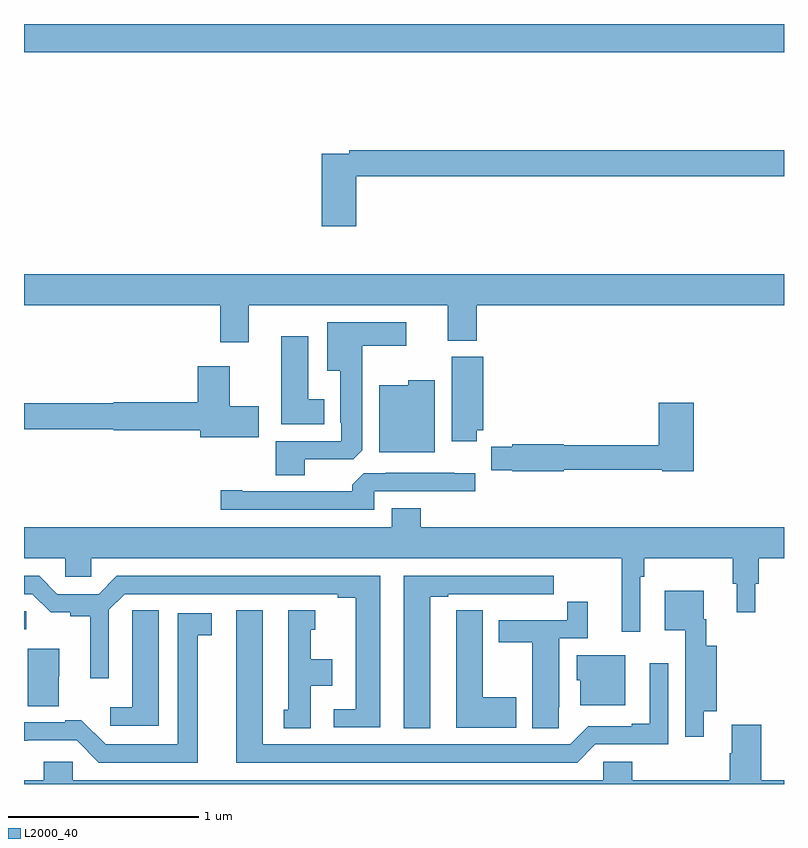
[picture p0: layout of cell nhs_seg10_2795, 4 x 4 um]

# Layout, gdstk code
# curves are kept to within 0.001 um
import gdstk
lib = gdstk.Library(unit=1e-6, precision=1e-09)
def R(c, l, rs):  # rectangles x0, y0, x1, y1
    for r in rs: c.add(gdstk.rectangle(r[:2], r[2:], *l))
def P(c, l, *ps):  # polygons
    for p in ps: c.add(gdstk.Polygon(p, *l))
L2000_40 = (2000, 40)

nhs_seg10_2795 = lib.new_cell('nhs_seg10_2795')
R(nhs_seg10_2795, L2000_40, [(263,1261.314,263.011,1261.41), (263,1264.352,267,1264.5)])
P(nhs_seg10_2795, L2000_40, [(264.749,1263.7),(267,1263.7),(267,1263.836),(264.712,1263.836),(264.712,1263.816),(264.566,1263.816),(264.566,1263.435),(264.749,1263.435)],
  [(264.184,1263.02),(265.229,1263.02),(265.229,1262.833),(265.382,1262.833),(265.382,1263.02),(267,1263.02),(267,1263.184),(263,1263.184),(263,1263.02),(264.032,1263.02),(264.032,1262.826),(264.184,1262.826)],
  [(264.478,1262.208),(264.732,1262.208),(264.781,1262.257),(264.781,1262.807),(265.012,1262.807),(265.012,1262.929),(264.596,1262.929),(264.596,1262.675),(264.665,1262.675),(264.665,1262.401),(264.669,1262.401),(264.669,1262.304),(264.326,1262.304),(264.326,1262.125),(264.478,1262.125)],
  [(264.58,1262.524),(264.496,1262.524),(264.496,1262.857),(264.353,1262.857),(264.353,1262.393),(264.58,1262.393)],
  [(265.384,1262.361),(265.418,1262.361),(265.418,1262.748),(265.25,1262.748),(265.25,1262.305),(265.384,1262.305)],
  [(264.235,1262.487),(264.082,1262.487),(264.082,1262.698),(263.915,1262.698),(263.915,1262.51),(263.472,1262.51),(263.472,1262.504),(263,1262.504),(263,1262.368),(263.472,1262.368),(263.472,1262.363),(263.927,1262.363),(263.927,1262.324),(264.235,1262.324)],
  [(265.162,1262.626),(265.023,1262.626),(265.023,1262.599),(264.869,1262.599),(264.869,1262.246),(265.162,1262.246)],
  [(265.842,1262.154),(266.358,1262.154),(266.358,1262.146),(266.525,1262.146),(266.525,1262.506),(266.342,1262.506),(266.342,1262.282),(265.842,1262.282),(265.842,1262.288),(265.57,1262.288),(265.57,1262.275),(265.459,1262.275),(265.459,1262.152),(265.57,1262.152),(265.57,1262.146),(265.842,1262.146)],
  [(264.843,1262.04),(265.376,1262.04),(265.376,1262.135),(265.265,1262.135),(265.265,1262.137),(264.789,1262.136),(264.728,1262.074),(264.728,1262.04),(264.148,1262.04),(264.148,1262.045),(264.036,1262.045),(264.036,1261.944),(264.843,1261.944)],
  [(266.244,1261.592),(266.264,1261.592),(266.264,1261.688),(266.731,1261.688),(266.731,1261.554),(266.75,1261.554),(266.75,1261.404),(266.848,1261.404),(266.848,1261.554),(266.867,1261.554),(266.867,1261.688),(267,1261.688),(267,1261.852),(265.088,1261.852),(265.088,1261.951),(264.935,1261.951),(264.935,1261.852),(263,1261.852),(263,1261.688),(263.217,1261.688),(263.217,1261.59),(263.355,1261.59),(263.355,1261.688),(266.147,1261.688),(266.147,1261.302),(266.244,1261.302)],
  [(264.874,1261.596),(263.489,1261.596),(263.393,1261.5),(263.175,1261.5),(263.079,1261.596),(263,1261.596),(263,1261.5),(263.043,1261.5),(263.141,1261.403),(263.244,1261.403),(263.244,1261.384),(263.348,1261.384),(263.348,1261.056),(263.445,1261.056),(263.445,1261.416),(263.529,1261.5),(264.65,1261.5),(264.65,1261.48),(264.746,1261.48),(264.746,1260.894),(264.63,1260.894),(264.63,1260.798),(264.874,1260.798)],
  [(265.138,1261.485),(265.234,1261.485),(265.234,1261.5),(265.51,1261.5),(265.51,1261.499),(265.676,1261.499),(265.676,1261.5),(265.789,1261.5),(265.789,1261.596),(264.998,1261.596),(264.998,1260.793),(265.138,1260.793)],
  [(266.578,1260.884),(266.646,1260.884),(266.646,1261.228),(266.59,1261.228),(266.59,1261.368),(266.577,1261.368),(266.577,1261.516),(266.372,1261.516),(266.372,1261.31),(266.479,1261.31),(266.479,1260.988),(266.48,1260.988),(266.48,1260.75),(266.578,1260.75)],
  [(265.815,1260.904),(265.816,1260.904),(265.816,1261.266),(265.967,1261.266),(265.967,1261.459),(265.858,1261.459),(265.858,1261.362),(265.499,1261.362),(265.499,1261.246),(265.676,1261.246),(265.676,1260.793),(265.815,1260.793)],
  [(265.591,1260.957),(265.414,1260.957),(265.414,1261.415),(265.275,1261.415),(265.275,1261.307),(265.274,1261.307),(265.274,1260.797),(265.591,1260.797)],
  [(263.71,1261.415),(263.571,1261.415),(263.571,1261.307),(263.57,1261.307),(263.57,1260.904),(263.454,1260.904),(263.454,1260.807),(263.71,1260.807)],
  [(266.007,1260.708),(266.391,1260.708),(266.391,1261.135),(266.294,1261.135),(266.294,1260.817),(266.198,1260.817),(266.198,1260.804),(265.971,1260.804),(265.875,1260.708),(264.256,1260.708),(264.256,1261.414),(264.116,1261.414),(264.116,1260.612),(265.911,1260.612)],
  [(264.508,1261.016),(264.622,1261.016),(264.622,1261.156),(264.508,1261.156),(264.508,1261.311),(264.532,1261.311),(264.532,1261.414),(264.392,1261.414),(264.392,1260.891),(264.368,1260.891),(264.368,1260.793),(264.508,1260.793)],
  [(263.914,1261.282),(263.989,1261.282),(263.989,1261.398),(263.81,1261.398),(263.81,1260.708),(263.43,1260.708),(263.302,1260.836),(263.216,1260.836),(263.216,1260.825),(263,1260.825),(263,1260.728),(263.277,1260.729),(263.394,1260.612),(263.914,1260.612)],
  [(263.184,1261.068),(263.185,1261.068),(263.185,1261.213),(263.021,1261.213),(263.021,1260.91),(263.184,1260.91)],
  [(266.164,1261.177),(265.91,1261.177),(265.91,1261.047),(265.928,1261.047),(265.928,1260.914),(266.164,1260.914)],
  [(266.726,1260.811),(266.726,1260.662),(266.714,1260.662),(266.714,1260.52),(266.201,1260.52),(266.201,1260.618),(266.049,1260.618),(266.049,1260.52),(263.256,1260.52),(263.256,1260.618),(263.105,1260.618),(263.105,1260.52),(263,1260.52),(263,1260.5),(267,1260.5),(267,1260.52),(266.879,1260.52),(266.879,1260.811)])

lib.write_gds('nhs_seg10_2795.gds')
